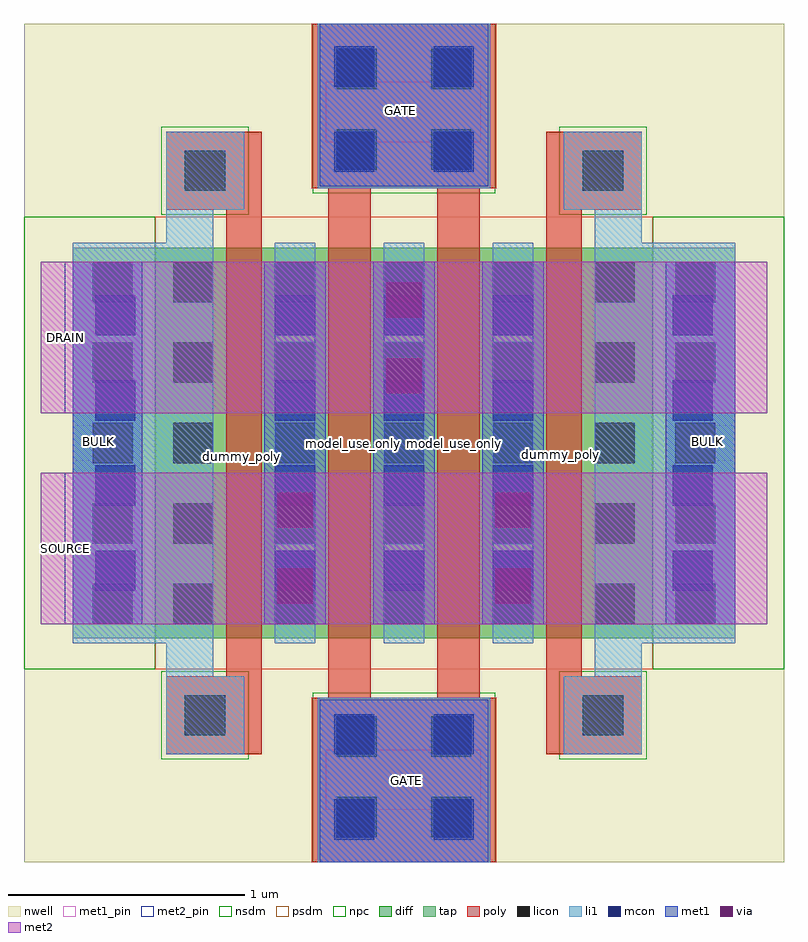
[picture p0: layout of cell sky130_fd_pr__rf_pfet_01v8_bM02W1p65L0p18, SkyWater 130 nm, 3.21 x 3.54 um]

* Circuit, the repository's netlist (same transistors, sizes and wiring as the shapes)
* Copyright 2020 The SkyWater PDK Authors
*
* Licensed under the Apache License, Version 2.0 (the "License");
* you may not use this file except in compliance with the License.
* You may obtain a copy of the License at
*
*     https://www.apache.org/licenses/LICENSE-2.0
*
* Unless required by applicable law or agreed to in writing, software
* distributed under the License is distributed on an "AS IS" BASIS,
* WITHOUT WARRANTIES OR CONDITIONS OF ANY KIND, either express or implied.
* See the License for the specific language governing permissions and
* limitations under the License.
*
* SPDX-License-Identifier: Apache-2.0


.subckt sky130_fd_pr__rf_pfet_01v8_bM02W1p65L0p18 BULK DRAIN GATE SOURCE
X0 SOURCE GATE DRAIN BULK sky130_fd_pr__pfet_01v8 w=1.65e+06u l=180000u
X1 SOURCE BULK BULK BULK sky130_fd_pr__pfet_01v8 w=1.65e+06u l=150000u
X2 BULK BULK SOURCE BULK sky130_fd_pr__pfet_01v8 w=1.65e+06u l=150000u
X3 DRAIN GATE SOURCE BULK sky130_fd_pr__pfet_01v8 w=1.65e+06u l=180000u
.ends

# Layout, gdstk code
import gdstk
lib = gdstk.Library(unit=1e-6, precision=1e-09)
def R(c, l, rs):  # rectangles x0, y0, x1, y1
    for r in rs: c.add(gdstk.rectangle(r[:2], r[2:], *l))
def A(c, l, x, y, w, h, nx, ny, dx, dy):  # array of equal rectangles
    R(c, l, [(x+i*dx, y+j*dy, x+i*dx+w, y+j*dy+h) for i in range(nx) for j in range(ny)])
nwell = (64, 20)
diff = (65, 20)
tap = (65, 44)
poly = (66, 20)
licon = (66, 44)
li1 = (67, 20)
mcon = (67, 44)
met1_pin = (68, 16)
met1 = (68, 20)
via = (68, 44)
met2_pin = (69, 16)
met2 = (69, 20)
nsdm = (93, 44)
psdm = (94, 20)
npc = (95, 20)

sky130_fd_pr__rf_pfet_01 = lib.new_cell('sky130_fd_pr__rf_pfet_01v8_bM02W1p65L0p18')
R(sky130_fd_pr__rf_pfet_01, nwell, [(0,0,3.21,3.54)])
R(sky130_fd_pr__rf_pfet_01, diff, [(0.555,0.945,2.655,2.595)])
R(sky130_fd_pr__rf_pfet_01, tap, [(0.205,0.945,0.555,2.595), (2.655,0.945,3.005,2.595)])
R(sky130_fd_pr__rf_pfet_01, poly, [(1.215,0,1.995,0.695), (0.6,0.455,0.93,0.785), (0.855,0.455,1.005,3.085), (2.205,0.455,2.355,3.085), (2.28,0.455,2.61,0.785), (1.285,0.695,1.465,2.845), (1.745,0.695,1.925,2.845), (0.6,2.755,0.93,3.085), (2.28,2.755,2.61,3.085), (1.215,2.845,1.995,3.54)])
A(sky130_fd_pr__rf_pfet_01, licon, 0.29, 1.005, 0.17, 0.17, 1, 5, 0, 0.34)
A(sky130_fd_pr__rf_pfet_01, licon, 0.63, 1.005, 0.17, 0.17, 1, 5, 0, 0.34)
A(sky130_fd_pr__rf_pfet_01, licon, 1.06, 1.005, 0.17, 0.17, 3, 5, 0.46, 0.34)
A(sky130_fd_pr__rf_pfet_01, licon, 2.41, 1.005, 0.17, 0.17, 1, 5, 0, 0.34)
A(sky130_fd_pr__rf_pfet_01, licon, 2.75, 1.005, 0.17, 0.17, 1, 5, 0, 0.34)
R(sky130_fd_pr__rf_pfet_01, licon, [(1.32,0.105,1.49,0.275), (1.72,0.105,1.89,0.275), (1.32,0.445,1.49,0.615), (1.72,0.445,1.89,0.615), (0.68,0.535,0.85,0.705), (2.36,0.535,2.53,0.705), (0.68,2.835,0.85,3.005), (2.36,2.835,2.53,3.005), (1.32,2.925,1.49,3.095), (1.72,2.925,1.89,3.095), (1.32,3.265,1.49,3.435), (1.72,3.265,1.89,3.435)])
A(sky130_fd_pr__rf_pfet_01, li1, 1.06, 0.925, 0.17, 1.69, 3, 1, 0.46, 0)
R(sky130_fd_pr__rf_pfet_01, li1, [(1.24,0,1.97,0.695), (0.6,0.455,0.93,0.785), (2.28,0.455,2.61,0.785), (0.6,0.785,0.8,0.925), (2.41,0.785,2.61,0.925), (0.205,0.925,0.8,2.615), (2.41,0.925,3.005,2.615), (0.6,2.615,0.8,2.755), (2.41,2.615,2.61,2.755), (0.6,2.755,0.93,3.085), (2.28,2.755,2.61,3.085), (1.24,2.845,1.97,3.54)])
A(sky130_fd_pr__rf_pfet_01, mcon, 0.3, 1.145, 0.17, 0.17, 1, 4, 0, 0.36)
A(sky130_fd_pr__rf_pfet_01, mcon, 1.06, 1.145, 0.17, 0.17, 3, 4, 0.46, 0.36)
A(sky130_fd_pr__rf_pfet_01, mcon, 2.74, 1.145, 0.17, 0.17, 1, 4, 0, 0.36)
R(sky130_fd_pr__rf_pfet_01, mcon, [(1.31,0.095,1.48,0.265), (1.73,0.095,1.9,0.265), (1.31,0.455,1.48,0.625), (1.73,0.455,1.9,0.625), (1.31,2.915,1.48,3.085), (1.73,2.915,1.9,3.085), (1.31,3.275,1.48,3.445), (1.73,3.275,1.9,3.445)])
R(sky130_fd_pr__rf_pfet_01, met1_pin, [(1.275,0.22,1.93,0.475), (0.205,1.695,0.435,1.845), (2.775,1.695,3.005,1.845), (1.275,3.04,1.93,3.295)])
A(sky130_fd_pr__rf_pfet_01, met1, 1.015, 1.005, 0.26, 1.53, 3, 1, 0.46, 0)
R(sky130_fd_pr__rf_pfet_01, met1, [(1.25,0,1.96,0.685), (0.205,1.005,0.5,2.535), (2.71,1.005,3.005,2.535), (1.25,2.855,1.96,3.54)])
R(sky130_fd_pr__rf_pfet_01, via, [(1.07,1.09,1.22,1.24), (1.99,1.09,2.14,1.24), (1.07,1.41,1.22,1.56), (1.99,1.41,2.14,1.56), (1.53,1.98,1.68,2.13), (1.53,2.3,1.68,2.45)])
R(sky130_fd_pr__rf_pfet_01, met2_pin, [(0.07,1.005,0.175,1.645), (0.07,1.895,0.175,2.535)])
R(sky130_fd_pr__rf_pfet_01, met2, [(0.07,1.005,3.14,1.645), (0.07,1.895,3.14,2.535)])
R(sky130_fd_pr__rf_pfet_01, nsdm, [(0,0.815,0.555,2.725), (2.655,0.815,3.21,2.725)])
R(sky130_fd_pr__rf_pfet_01, psdm, [(0.555,0.815,2.655,2.725)])
R(sky130_fd_pr__rf_pfet_01, npc, [(1.22,0,1.99,0.715), (0.58,0.435,0.95,0.805), (2.26,0.435,2.63,0.805), (0.58,2.735,0.95,3.105), (2.26,2.735,2.63,3.105), (1.22,2.825,1.99,3.54)])
sky130_fd_pr__rf_pfet_01.add(gdstk.Label('dummy_poly', (0.92,1.715), layer=83, texttype=44))
sky130_fd_pr__rf_pfet_01.add(gdstk.Label('dummy_poly', (2.265,1.72), layer=83, texttype=44))
sky130_fd_pr__rf_pfet_01.add(gdstk.Label('GATE', (1.59,3.175), layer=68, texttype=5))
sky130_fd_pr__rf_pfet_01.add(gdstk.Label('GATE', (1.615,0.345), layer=68, texttype=5))
sky130_fd_pr__rf_pfet_01.add(gdstk.Label('BULK', (0.315,1.775), layer=68, texttype=16))
sky130_fd_pr__rf_pfet_01.add(gdstk.Label('BULK', (2.885,1.775), layer=68, texttype=16))
sky130_fd_pr__rf_pfet_01.add(gdstk.Label('model_use_only', (1.82,1.77), layer=66, texttype=83))
sky130_fd_pr__rf_pfet_01.add(gdstk.Label('model_use_only', (1.39,1.77), layer=66, texttype=83))
sky130_fd_pr__rf_pfet_01.add(gdstk.Label('model_use_only', (0.905,1.77), layer=66, texttype=83))
sky130_fd_pr__rf_pfet_01.add(gdstk.Label('model_use_only', (2.265,1.77), layer=66, texttype=83))
sky130_fd_pr__rf_pfet_01.add(gdstk.Label('SOURCE', (0.175,1.325), layer=69, texttype=5))
sky130_fd_pr__rf_pfet_01.add(gdstk.Label('DRAIN', (0.175,2.215), layer=69, texttype=5))

lib.write_gds('sky130_fd_pr__rf_pfet_01v8_bM02W1p65L0p18.gds')
